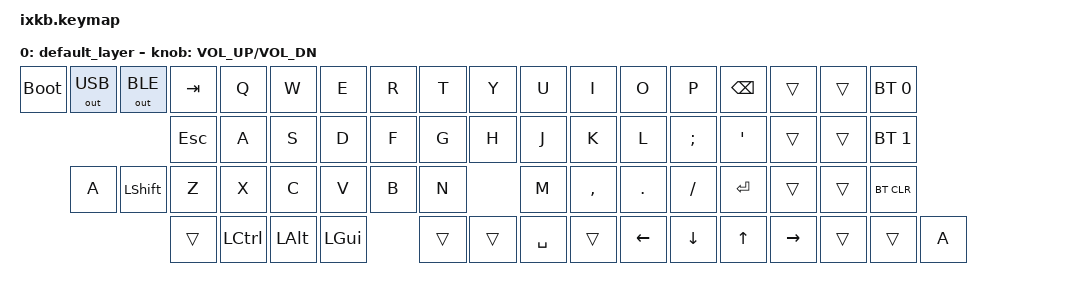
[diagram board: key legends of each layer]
/*
 * Copyright (c) 2020 The ZMK Contributors
 *
 * SPDX-License-Identifier: MIT
 */

#include <behaviors.dtsi>
#include <dt-bindings/zmk/keys.h>
#include <dt-bindings/zmk/bt.h>
#include <dt-bindings/zmk/outputs.h>

/ {
    keymap {
        compatible = "zmk,keymap";

        default_layer {
            bindings = <
                &bootloader &out OUT_USB &out OUT_BLE   &kp TAB    &kp Q    &kp W &kp E &kp R &kp T  &kp Y   &kp U  &kp I    &kp O   &kp P    &kp BSPC             &trans &trans &bt BT_SEL 0

                                                        &kp ESC    &kp A    &kp S &kp D &kp F &kp G  &kp H   &kp J  &kp K    &kp L   &kp SEMI &kp SQT &trans &trans &bt BT_SEL 1
                            &kp A                       &kp LSHFT  &kp Z    &kp X &kp C &kp V &kp B  &kp N   &kp M  &kp COMMA &kp DOT &kp SLASH &kp RET &trans &trans &bt BT_CLR
                                                        &trans     &kp LCTL &kp LALT &kp LGUI &trans &trans &kp SPACE &trans &kp LEFT &kp DOWN &kp UP &kp RIGHT &trans &trans &kp A
            >;

            sensor-bindings = <&inc_dec_kp C_VOL_UP C_VOL_DN>;
        };
    };
};
